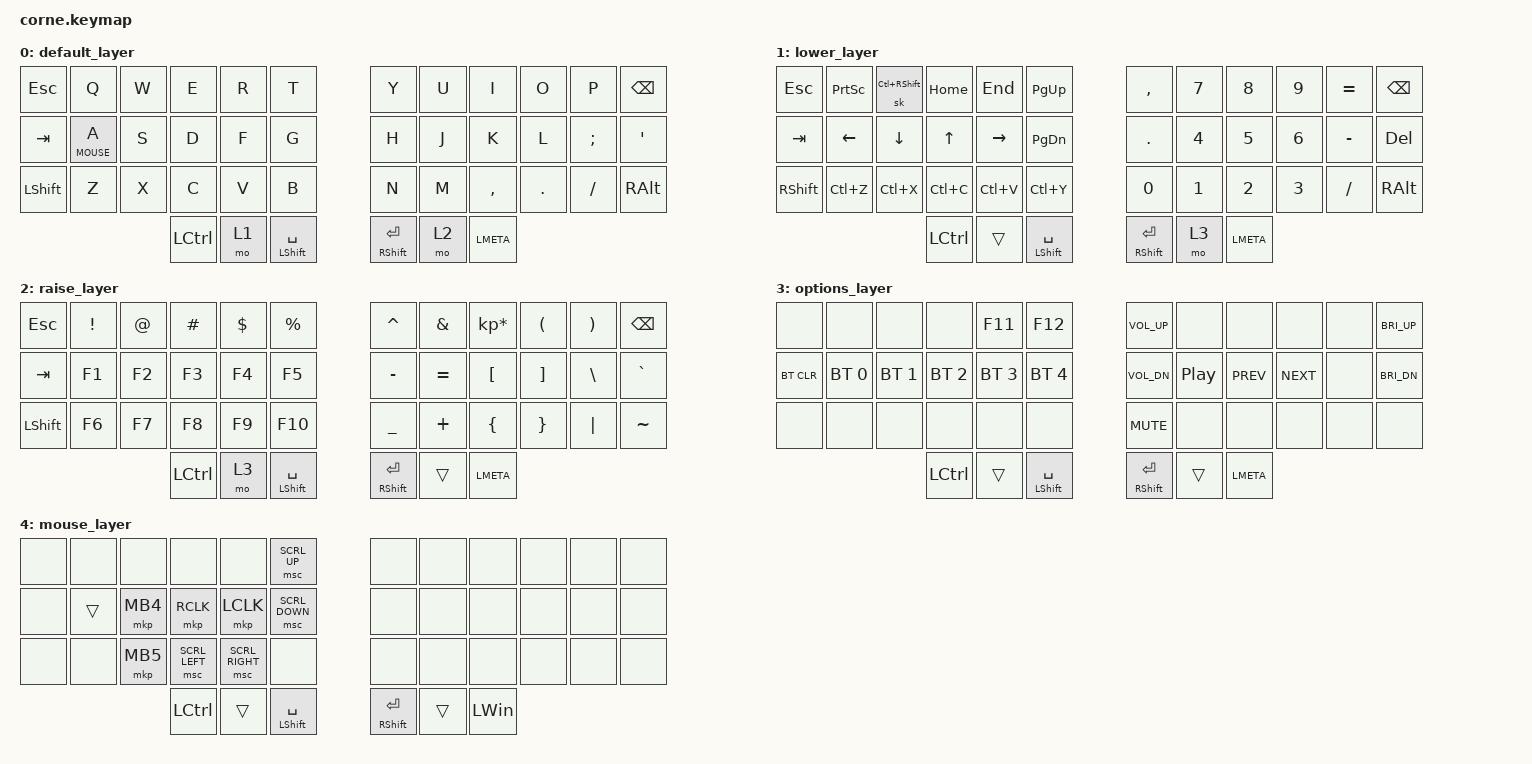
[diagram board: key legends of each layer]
/*
 * Copyright (c) 2020 The ZMK Contributors
 *
 * SPDX-License-Identifier: MIT
 */

#include <behaviors.dtsi>
#include <dt-bindings/zmk/keys.h>
#include <dt-bindings/zmk/bt.h>
#include <dt-bindings/zmk/pointing.h>

#define DEFAULT 0
#define LOWER 1
#define RAISE 2
#define OPTIONS 3
#define MOUSE 4

/ {
        keymap {
                compatible = "zmk,keymap";

                default_layer {
// -----------------------------------------------------------------------------------------
// |  ESC |  Q  |  W  |  E  |  R  |  T  |   |  Y  |  U   |  I  |  O  |  P  | BKSP |
// | TAB  |  A  |  S  |  D  |  F  |  G  |   |  H  |  J   |  K  |  L  |  ;  |  '   |
// | SHFT |  Z  |  X  |  C  |  V  |  B  |   |  N  |  M   |  ,  |  .  |  /  | ALT  |
//              | CTRL | LWR | SPC&SHFT |   | ENT&SHFT | RAISE | SUPER |
                        bindings = <
   &kp ESC   &kp Q &kp W &kp E &kp R &kp T   &kp Y &kp U  &kp I     &kp O   &kp P    &kp BSPC
   &kp TAB   &lt MOUSE A &kp S &kp D &kp F &kp G   &kp H &kp J  &kp K     &kp L   &kp SEMI &kp SQT
   &kp LSHFT &kp Z &kp X &kp C &kp V &kp B   &kp N &kp M  &kp COMMA &kp DOT &kp FSLH &kp RALT
                  &kp LCTRL &mo 1 &mt LSHFT SPACE   &mt RSHFT RET &mo 2 &kp LMETA
                        >;
                };
                lower_layer {
// -----------------------------------------------------------------------------------------
// |  ESC |PSCRN|CTLSHFT|HOME | END |PG_UP|   |  ,  |  7  |  8  |  9  |  =  | BKSP |
// | TAB  | LFT | DWN   | UP  | RGT |PG_DN|   |  .  |  4  |  5  |  6  |  -  | DEL  |
// | SHFT |CTL-Z|CTL-X  |CTL-C|CTL-V|CTL-Y|   |  0  |  1  |  2  |  3  |  /  | RALT |
//                 | GUI |     | SPC&SHFT |   | ENT&SHFT |      | ALT |
                        bindings = <
   &kp ESC    &kp PSCRN       &sk LC(RSHFT)  &kp HOME       &kp END       &kp PG_UP         &kp COMMA   &kp N7   &kp N8 &kp N9    &kp EQUAL &kp BSPC
   &kp TAB &kp LEFT &kp DOWN &kp UP &kp RIGHT &kp PG_DN   &kp DOT &kp N4 &kp N5 &kp N6 &kp MINUS &kp DEL
   &kp RSHFT  &kp LC(Z)   &kp LC(X) &kp LC(C) &kp LC(V)  &kp LC(Y)    &kp N0   &kp N1   &kp N2 &kp N3    &kp FSLH &kp RALT
                                    &kp LCTRL     &trans       &mt LSHFT SPACE      &mt RSHFT RET  &mo 3   &kp LMETA
                        >;
                };

                raise_layer {
// -----------------------------------------------------------------------------------------
// |  ESC |  !  |  @  |  #  |  $  |  %  |   |  ^  |  &  |  *  |  (  |  )  | BKSP |
// | TAB  | F1  | F2  | F3  | F4  | F5  |   |  -  |  =  |  [  |  ]  |  \  |  `   |
// | SHFT | F6  | F7  | F8  | F9  | F10 |   |  _  |  +  |  {  |  }  | "|" |  ~   |
//               | GUI |     | SPC&SHFT |   | ENT&SHFT |      | ALT |
                        bindings = <
   &kp ESC  &kp EXCL &kp AT &kp HASH &kp DLLR &kp PRCNT   &kp CARET &kp AMPS  &kp KP_MULTIPLY &kp LPAR &kp RPAR &kp BSPC
   &kp TAB &kp F1   &kp F2 &kp F3   &kp F4   &kp F5      &kp MINUS &kp EQUAL &kp LBKT        &kp RBKT &kp BSLH &kp GRAVE
   &kp LSHFT &kp F6   &kp F7 &kp F8   &kp F9   &kp F10      &kp UNDER &kp PLUS  &kp LBRC        &kp RBRC &kp PIPE &kp TILDE
                             &kp LCTRL     &mo 3       &mt LSHFT SPACE      &mt RSHFT RET  &trans   &kp LMETA
                        >;
                };

                options_layer {
// -----------------------------------------------------------------------------------------
// |      |     |     |     | F11 | F12 |   |VOL_UP|           |      |      |     |SCRN_BR+|
// | BTCLR| BT1 | BT2 | BT3 | BT4 | BT5 |   |VOL_DN|PLAY/ PAUSE| PREV | NEXT |     |SCRN_BR-|
// |      |     |     |     |     |     |   | MUTE |           |      |      |     |        |
//               | GUI |     | SPC&SHFT |   | ENT&SHFT |      | ALT |
                        bindings = <
    &none &none &none &none &kp F11 &kp F12                                             &kp C_VOL_UP &none &none &none &none &kp C_BRI_UP 
    &bt BT_CLR &bt BT_SEL 0 &bt BT_SEL 1 &bt BT_SEL 2 &bt BT_SEL 3 &bt BT_SEL 4     &kp C_VOL_DN &kp C_PP &kp C_PREV &kp C_NEXT &none &kp C_BRI_DN 
    &none &none &none &none &none &none                                             &kp C_MUTE &none &none &none &none &none 
    &kp LCTRL     &trans       &mt LSHFT SPACE      &mt RSHFT RET  &trans   &kp LMETA
                        >;
                    
                };    
            
                mouse_layer {
// -----------------------------------------------------------------------------------------
// |      |     |     |      |      | SCRUP |   |      |           |      |      |     |        |
// |      |     | MB4 | RCLK | LCLK | SCRDN |   |      |           |      |      |     |        |
// |      |     | MB5 | SCR_L|SCR_R |       |   |      |           |      |      |     |        |
//               | GUI |     | SPC&SHFT |   | ENT&SHFT |      | ALT |
                        bindings = <
    &none &none &none &none &none &msc SCRL_UP                                             &none &none &none &none &none &none 
    &none &trans &mkp MB4 &mkp RCLK &mkp LCLK &msc SCRL_DOWN                                             &none &none &none &none &none &none 
    &none &none &mkp MB5 &msc SCRL_LEFT &msc SCRL_RIGHT &none                                             &none &none &none &none &none &none 
    &kp LCTRL     &trans       &mt LSHFT SPACE      &mt RSHFT RET  &trans   &kp LWIN
                        >;
                    
                };    

        };
};
